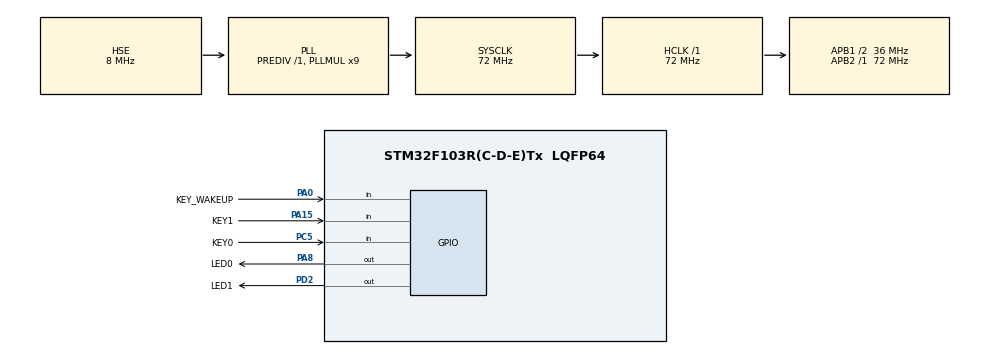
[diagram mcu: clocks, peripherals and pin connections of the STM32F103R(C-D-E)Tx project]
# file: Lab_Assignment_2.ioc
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Mcu.Family=STM32F1
Mcu.Name=STM32F103R(C-D-E)Tx
Mcu.Package=LQFP64
NVIC.PriorityGroup=NVIC_PRIORITYGROUP_4
PA0-WKUP.GPIO_Label=KEY_WAKEUP
PA0-WKUP.GPIO_PuPd=GPIO_PULLDOWN
PA0-WKUP.Signal=GPIO_Input
PA13.Mode=Serial_Wire
PA13.Signal=SYS_JTMS-SWDIO
PA14.Mode=Serial_Wire
PA14.Signal=SYS_JTCK-SWCLK
PA15.GPIO_Label=KEY1
PA15.GPIO_PuPd=GPIO_PULLUP
PA15.Signal=GPIO_Input
PA8.GPIO_Label=LED0
PA8.Signal=GPIO_Output
PC5.GPIO_Label=KEY0
PC5.GPIO_PuPd=GPIO_PULLUP
PC5.Signal=GPIO_Input
PD0-OSC_IN.Mode=HSE-External-Oscillator
PD0-OSC_IN.Signal=RCC_OSC_IN
PD1-OSC_OUT.Mode=HSE-External-Oscillator
PD1-OSC_OUT.Signal=RCC_OSC_OUT
PD2.GPIO_Label=LED1
PD2.Signal=GPIO_Output
ProjectManager.HeapSize=0x200
ProjectManager.StackSize=0x400
ProjectManager.TargetToolchain=STM32CubeIDE
RCC.AHBFreq_Value=72000000
RCC.APB1CLKDivider=RCC_HCLK_DIV2
RCC.APB1Freq_Value=36000000
RCC.APB1TimFreq_Value=72000000
RCC.APB2Freq_Value=72000000
RCC.APB2TimFreq_Value=72000000
RCC.HCLKFreq_Value=72000000
RCC.PLLMUL=RCC_PLL_MUL9
RCC.PLLSourceVirtual=RCC_PLLSOURCE_HSE
RCC.SYSCLKFreq_VALUE=72000000
RCC.SYSCLKSource=RCC_SYSCLKSOURCE_PLLCLK
RCC.USBFreq_Value=72000000
board=custom

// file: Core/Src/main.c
/* USER CODE BEGIN Header */
/**
  ******************************************************************************
  * @file           : main.c
  * @brief          : Main program body
  ******************************************************************************
  * @attention
  *
  * Copyright (c) 2024 STMicroelectronics.
  * All rights reserved.
  *
  * This software is licensed under terms that can be found in the LICENSE file
  * in the root directory of this software component.
  * If no LICENSE file comes with this software, it is provided AS-IS.
  *
  ******************************************************************************
  */
/* USER CODE END Header */
#include "main.h"
#include "gpio.h"
#include "lcd_v4.h"

/* USER CODE BEGIN PD */
#define ENCODE 0
#define DECODE 1
#define KEY0_PRESSED (HAL_GPIO_ReadPin(KEY0_GPIO_Port, KEY0_Pin) == GPIO_PIN_RESET)
#define KEY1_PRESSED (HAL_GPIO_ReadPin(KEY1_GPIO_Port, KEY1_Pin) == GPIO_PIN_RESET)
#define KEY_WAKEUP_PRESSED (HAL_GPIO_ReadPin(KEY_WAKEUP_GPIO_Port, KEY_WAKEUP_Pin) == GPIO_PIN_SET)
#define KEY_WAKEUP_VAL 1
#define KEY0_VAL 2
#define KEY1_VAL 3
#define KEY0_KEY1_VAL 4

/* USER CODE END PD */

/* USER CODE BEGIN PM */
#define BIT_READ(arr, bit)         ((arr[(bit) >> 3] >> ((bit) % 8)) & 1)
#define BIT_SET(arr, bit)          (arr[(bit) >> 3] |= (1 << ((bit) % 8)))
#define BIT_CLEAR(arr, bit)        (arr[(bit) >> 3] &= ~(1 << ((bit) % 8)))
#define BIT_TOGGLE(arr, bit)       (arr[(bit) >> 3] ^= (1 << ((bit) % 8)))
#define BIT_COPY(arr, bit, copy)   \
	do { \
		if (copy) { \
			BIT_SET(arr, bit); \
		} else { \
			BIT_CLEAR(arr, bit); \
		} \
	} while (0);
/* USER CODE END PM */

/* USER CODE BEGIN PV */
extern const unsigned char decodeSuccess[14160];
const uint32_t interval_millis = 500;
uint32_t current_millis = 0;
char* hamming[] = {"Hamming(3,1)", "Hamming(5,2)", "Hamming(6,3)", "Hamming(7,4)",
		"Hamming(9,5)", "Hamming(10,6)", "Hamming(11,7)", "Hamming(12,8)",
		"Hamming(13,9)", "Hamming(14,10)", "Hamming(15,11)"};
uint8_t hamming_version = 8;
uint8_t original_data_iterator = 0, encoded_data_iterator = 0;
uint8_t input_complete = 0;

/* USER CODE END PV */

void SystemClock_Config(void);

/* USER CODE BEGIN 0 */
void lcd_show_image(uint16_t x, uint16_t y, uint16_t width, uint16_t height, const unsigned char image[]) {
	uint16_t pointer = 0;
	for (uint16_t yy = y; yy < y + height; yy++) {
		for (uint16_t xx = x; xx < x + width; xx++) {
			uint16_t color = ((image[2 * pointer + 1] << 8) | image[2 * pointer]);
			pointer++;
			lcd_draw_point(xx, yy, color);
		}
	}
}
uint8_t key_scan() {
	static uint8_t key_up = 1;
	static uint8_t double_pressed = 0;
	uint8_t key_val = 0;

	if (key_up && (KEY0_PRESSED || KEY1_PRESSED || KEY_WAKEUP_PRESSED)) {
		HAL_Delay(10);
		if (KEY_WAKEUP_PRESSED) {
			key_val = KEY_WAKEUP_VAL;
		} else if (KEY0_PRESSED) {
			key_val = KEY0_VAL;
		} else if (KEY1_PRESSED) {
			key_val = KEY1_VAL;
		}
		key_up = 0;
		double_pressed = 0;
	} else if (!KEY0_PRESSED && !KEY1_PRESSED && !KEY_WAKEUP_PRESSED) {
		key_up = 1;
		double_pressed = 0;
	} else if (!double_pressed && (KEY0_PRESSED || KEY1_PRESSED)) {
		HAL_Delay(10);
		if (KEY0_PRESSED && KEY1_PRESSED) {
			key_val = KEY0_KEY1_VAL;
			double_pressed = 1;
		} else {
			double_pressed = 0;
		}
	}

	return key_val;
}

void flash_LEDs(uint8_t times) {
	for (uint8_t i = 0; i < times << 1; i++) {
	  HAL_GPIO_TogglePin(LED0_GPIO_Port, LED0_Pin);
	  HAL_GPIO_TogglePin(LED1_GPIO_Port, LED1_Pin);
	  HAL_Delay(300);
	}
}

void init(uint8_t mode) {
	input_complete = 0;
	lcd_clear(WHITE);
	lcd_show_string(30, 30, 100, 24, 24, "MODE:", BLACK);
	if (mode == ENCODE) {
	  original_data_iterator = 0;
	  lcd_show_string(110, 30, 100, 24, 24, "ENCODE", BLUE);
	  lcd_show_string(30, 70, 200, 12, 12, "Original Data:", BLACK);
	} else { // if mode is switched to DECODE, LEDs flash once
	  encoded_data_iterator = 0;
	  lcd_show_string(110, 30, 100, 24, 24, "DECODE", GREEN);
	  lcd_show_string(30, 70, 200, 12, 12, "Encoded Data:", BLACK);
	}
	lcd_show_string(115, 290, 140, 16, 16, hamming[hamming_version - 1], BLACK);
}
/* USER CODE END 0 */

int main(void)
{

  /* MCU Configuration--------------------------------------------------------*/

  /* Reset of all peripherals, Initializes the Flash interface and the Systick. */
  HAL_Init();

  /* Configure the system clock */
  SystemClock_Config();

  /* USER CODE BEGIN SysInit */
  lcd_init();
  /* USER CODE END SysInit */

  /* Initialize all configured peripherals */
  MX_GPIO_Init();
  /* USER CODE BEGIN 2 */
  uint8_t mode = 0;
  uint8_t encoding = 0, decoding = 0;
  uint8_t data_bits = 8;
  uint8_t data[2];
  uint8_t parity_bits = 4;
  uint8_t encode_bits = data_bits + parity_bits;
  uint8_t encode[2];
  uint8_t check[1];
  uint8_t underscore = 0;
  uint8_t after_input = 0;
  g_back_color = WHITE;
  init(mode);
  /* USER CODE END 2 */

  /* Infinite loop */
  /* USER CODE BEGIN WHILE */
  while (1)
  {
	  // Real-time update of input
	  if (mode == ENCODE) {
		  if (input_complete == 0) {
			  if (original_data_iterator == data_bits) {
				  input_complete = 1;
			  }
			  uint8_t x_offset = 0;
			  for (uint8_t i = 0; i < original_data_iterator; i++) {
				  lcd_show_num(30 + x_offset, 85, BIT_READ(data, i), 1, 24, BLACK);
				  x_offset += 12;
			  }
			  if (original_data_iterator < data_bits) {
				  if (after_input) {
					  lcd_show_char(30 + x_offset, 85, '_', 24, 0, BLACK);
					  current_millis = HAL_GetTick();
					  after_input = 0;
				  }
				  if (HAL_GetTick() - current_millis >= interval_millis) {
					  if (underscore) {
						  lcd_show_char(30 + x_offset, 85, '_', 24, 0, BLACK);
					  } else {
						  lcd_show_char(30 + x_offset, 85, ' ', 24, 0, BLACK);
					  }
					  underscore ^= 1;
					  current_millis = HAL_GetTick();
				  }
			  }
		  }
	  } else {
		  if (input_complete == 0) {
			  if (encoded_data_iterator == encode_bits) {
				  input_complete = 1;
			  }
			  uint8_t x_offset = 0;
			  for (uint8_t i = 0; i < encoded_data_iterator; i++) {
				  lcd_show_num(30 + x_offset, 85, BIT_READ(encode, i), 1, 24, BLACK);
				  x_offset += 12;
			  }
			  if (encoded_data_iterator < encode_bits) {
				  if (after_input) {
					  lcd_show_char(30 + x_offset, 85, '_', 24, 0, BLACK);
					  current_millis = HAL_GetTick();
					  after_input = 0;
				  }
				  if (HAL_GetTick() - current_millis >= interval_millis) {
					  if (underscore) {
						  lcd_show_char(30 + x_offset, 85, '_', 24, 0, BLACK);
					  } else {
						  lcd_show_char(30 + x_offset, 85, ' ', 24, 0, BLACK);
					  }
					  underscore ^= 1;
					  current_millis = HAL_GetTick();
				  }
			  }
		  }
	  }

	  volatile uint8_t key_val = key_scan();
	  // Detect key
	  if (key_val) {
		  switch (key_val) {
		  	  case KEY_WAKEUP_VAL:
				  mode = !mode;
				  init(mode);
				  if (mode == ENCODE) {
					  flash_LEDs(2);
				  } else {
					  flash_LEDs(1);
				  }
				  break;
		  	  case KEY0_VAL:
		  		  after_input = 1;
		  		  if (mode == ENCODE) {
		  			  if (original_data_iterator < data_bits) {
		  				  BIT_CLEAR(data, original_data_iterator);
		  				  original_data_iterator++;
		  				  if (original_data_iterator == data_bits) {
		  			  		  encoding = 1;
		  				  }
		  			  } else {
		  				  init(mode);
		  			  }
		  		  } else {
		  			  if (encoded_data_iterator < encode_bits) {
		  				  BIT_CLEAR(encode, encoded_data_iterator);
		  				  encoded_data_iterator++;
		  				  if (encoded_data_iterator == encode_bits) {
		  			  		  decoding = 1;
		  				  }
		  			  } else {
		  				  init(mode);
		  			  }
		  		  }
		  		  break;
		  	  case KEY1_VAL:
		  		  after_input = 1;
		  		if (mode == ENCODE) {
					  if (original_data_iterator < data_bits) {
						  BIT_SET(data, original_data_iterator);
						  original_data_iterator++;
						  if (original_data_iterator == data_bits) {
							  encoding = 1;
						  }
					  } else {
						  init(mode);
					  }
				  } else {
					  if (encoded_data_iterator < encode_bits) {
						  BIT_SET(encode, encoded_data_iterator);
						  encoded_data_iterator++;
						  if (encoded_data_iterator == encode_bits) {
							  decoding = 1;
						  }
					  } else {
						  init(mode);
					  }
				  }
		  		  break;
		  	  case KEY0_KEY1_VAL:
		  		  hamming_version = hamming_version == 11 ? 1 : hamming_version + 1;
		  		  data_bits = hamming_version;
		  		  parity_bits = data_bits == 1 ? 2 : data_bits <= 4 ? 3 : 4;
		  		  encode_bits = data_bits + parity_bits;
		  		  init(mode);
		  	  default:
		  }
	  } else {
		  HAL_Delay(10);
	  }

	  // Encoding process (only executed once while mode == ENCODE)
	  if (mode == ENCODE && encoding) {
		  uint8_t data_idx = data_bits - 1;
		  for (int8_t i = encode_bits - 1; i >= 0; i--) {
			  // if i + 1 is not a power of 2
			  if (((i + 1) & i) != 0) {
				  BIT_COPY(encode, i, BIT_READ(data, data_idx));
				  data_idx--;
			  } else { // if i + 1 is a power of 2
				  uint8_t parity_bit = 0;
				  BIT_CLEAR(encode, i);
				  for (uint8_t j = i; j < encode_bits; j += ((i + 1) << 1)) {
					  for (uint8_t k = 0; k < i + 1 && j + k < encode_bits; k++) {
						  parity_bit ^= BIT_READ(encode, j + k);
					  }
				  }
				  BIT_COPY(encode, i, parity_bit);
			  }
		  }
		  // Print encoded data
		  lcd_show_string(30, 120, 200, 12, 12, "Encoded Data:", BLACK);
		  for (uint8_t i = 0, x_offset = 0; i < encode_bits; i++) {
			  if (((i + 1) & i) != 0) {
				  lcd_show_num(30 + x_offset, 135, BIT_READ(encode, i), 1 , 24, BLACK);
			  } else {
				  lcd_show_num(30 + x_offset, 135, BIT_READ(encode, i), 1 , 24, BLUE);
			  }
			  x_offset += 12;
		  }
		  encoding = 0;
	  }

	  // Decoding process (only executed once while mode == DECODE)
	  if (mode == DECODE && decoding) {
		  uint8_t check_idx = 0;
		  uint8_t incorrect = 0;
		  uint8_t bad_bit = 0;
		  for (int8_t i = encode_bits - 1; i >= 0; i--) {
			  if (((i + 1) & i) == 0) {
				  uint8_t check_bit = 0;
				  for (uint8_t j = i; j < encode_bits; j += ((i + 1) << 1)) {
					  for (uint8_t k = 0; k < i + 1 && j + k < encode_bits; k++) {
						  check_bit ^= BIT_READ(encode, j + k);
					  }
				  }
				  // check_bit == 0 means that even parity is achieved
				  // put check_bit in check
				  BIT_COPY(check, check_idx, check_bit);
				  incorrect |= check_bit;
				  check_idx++;
			  }
		  }
		  // Detect errors & find bad_bit
		  for (uint8_t i = 0; i < parity_bits; i++) {
			  bad_bit |= BIT_READ(check, i);
			  bad_bit = bad_bit << 1;
		  }
		  bad_bit = bad_bit >> 1;
		  // Print decoded data
		  lcd_show_string(30, 120, 200, 12, 12, "Decoded Data:", BLACK);
		  for (uint8_t i = 0, x_offset = 0; i < encode_bits; i++) {
			  if (((i + 1) & i) != 0) {
				  if (i + 1 == bad_bit) {
					  lcd_show_num(30 + x_offset, 135, BIT_READ(encode, i), 1, 24, RED);
				  } else {
					  lcd_show_num(30 + x_offset, 135, BIT_READ(encode, i), 1, 24, BLACK);
				  }
				  x_offset += 12;
			  }
		  }
		  // Print the number of parity bits, and the parity bits themselves
		  lcd_show_string(30, 170, 200, 12, 12, "Total Parity Bits:", BLACK);
		  lcd_show_num(30, 185, parity_bits, 1, 24, BLACK);
		  lcd_show_char(54, 185, '[', 24, 1, BLACK);
		  for (uint8_t i = 0, x_offset = 0; i < parity_bits; i++, x_offset += 12) {
			  lcd_show_num(66 + x_offset, 185, BIT_READ(check, i), 1, 24, BLACK);
			  if (i == parity_bits - 1) {
				  lcd_show_char(66 + x_offset + 12, 185, ']', 24, 1, BLACK);
			  }
		  }
		  // Print error information
		  if (bad_bit > encode_bits) {
			  lcd_show_string(30, 220, 200, 16, 16, "Multiple errors occurred", RED);
		  } else {
			  lcd_show_image(140, 170, 100, 49, decodeSuccess);
			  if (incorrect) {
				  lcd_show_string(30, 220, 200, 16, 16, "Error occurred at bit", RED);
				  lcd_show_num(205, 220, bad_bit, bad_bit >= 100 ? 3 : bad_bit >= 10 ? 2 : 1, 16, RED);
				  // Print the corrected data if one of the data bits is incorrect
				  if (((bad_bit) & (bad_bit - 1)) != 0) {
					  lcd_show_string(30, 240, 200, 12, 12, "Corrected Data:", BLACK);
					  for (uint8_t i = 0, x_offset = 0; i < encode_bits; i++) {
						  if (((i + 1) & i) != 0) {
							  if (i + 1 == bad_bit) {
								  lcd_show_num(30 + x_offset, 255, !BIT_READ(encode, i), 1 , 24, BLACK);
							  } else {
								  lcd_show_num(30 + x_offset, 255, BIT_READ(encode, i), 1 , 24, BLACK);
							  }
							  x_offset += 12;
						  }
					  }
				  } else {
					  lcd_show_string(30, 240, 200, 16, 16, "(which is a parity bit)", RED);
				  }
			  } else {
				  lcd_show_string(30, 220, 200, 16, 16, "No error occurred", GREEN);
			  }
		  }
		  decoding = 0;
	  }

	  // Route KEY0 and KEY1 to LED0 and LED1 respectively
	  if (KEY0_PRESSED) { // KEY0 is pressed
		  HAL_GPIO_WritePin(LED0_GPIO_Port, LED0_Pin, GPIO_PIN_RESET); // LED0 is turned on
	  } else {
		  HAL_GPIO_WritePin(LED0_GPIO_Port, LED0_Pin, GPIO_PIN_SET);
	  }
	  if (KEY1_PRESSED) { // KEY1 is pressed
		  HAL_GPIO_WritePin(LED1_GPIO_Port, LED1_Pin, GPIO_PIN_RESET); // LED1 is turned on
	  } else {
		  HAL_GPIO_WritePin(LED1_GPIO_Port, LED1_Pin, GPIO_PIN_SET);
	  }

    /* USER CODE END WHILE */

  }
}

void SystemClock_Config(void)
{
  RCC_OscInitTypeDef RCC_OscInitStruct = {0};
  RCC_ClkInitTypeDef RCC_ClkInitStruct = {0};

  /** Initializes the RCC Oscillators according to the specified parameters
  * in the RCC_OscInitTypeDef structure.
  */
  RCC_OscInitStruct.OscillatorType = RCC_OSCILLATORTYPE_HSE;
  RCC_OscInitStruct.HSEState = RCC_HSE_ON;
  RCC_OscInitStruct.HSEPredivValue = RCC_HSE_PREDIV_DIV1;
  RCC_OscInitStruct.HSIState = RCC_HSI_ON;
  RCC_OscInitStruct.PLL.PLLState = RCC_PLL_ON;
  RCC_OscInitStruct.PLL.PLLSource = RCC_PLLSOURCE_HSE;
  RCC_OscInitStruct.PLL.PLLMUL = RCC_PLL_MUL9;
  if (HAL_RCC_OscConfig(&RCC_OscInitStruct) != HAL_OK)
  {
    Error_Handler();
  }

  /** Initializes the CPU, AHB and APB buses clocks
  */
  RCC_ClkInitStruct.ClockType = RCC_CLOCKTYPE_HCLK|RCC_CLOCKTYPE_SYSCLK
                              |RCC_CLOCKTYPE_PCLK1|RCC_CLOCKTYPE_PCLK2;
  RCC_ClkInitStruct.SYSCLKSource = RCC_SYSCLKSOURCE_PLLCLK;
  RCC_ClkInitStruct.AHBCLKDivider = RCC_SYSCLK_DIV1;
  RCC_ClkInitStruct.APB1CLKDivider = RCC_HCLK_DIV2;
  RCC_ClkInitStruct.APB2CLKDivider = RCC_HCLK_DIV1;

  if (HAL_RCC_ClockConfig(&RCC_ClkInitStruct, FLASH_LATENCY_2) != HAL_OK)
  {
    Error_Handler();
  }
}

void Error_Handler(void)
{
  __disable_irq();
  while (1)
  {
  }
}
